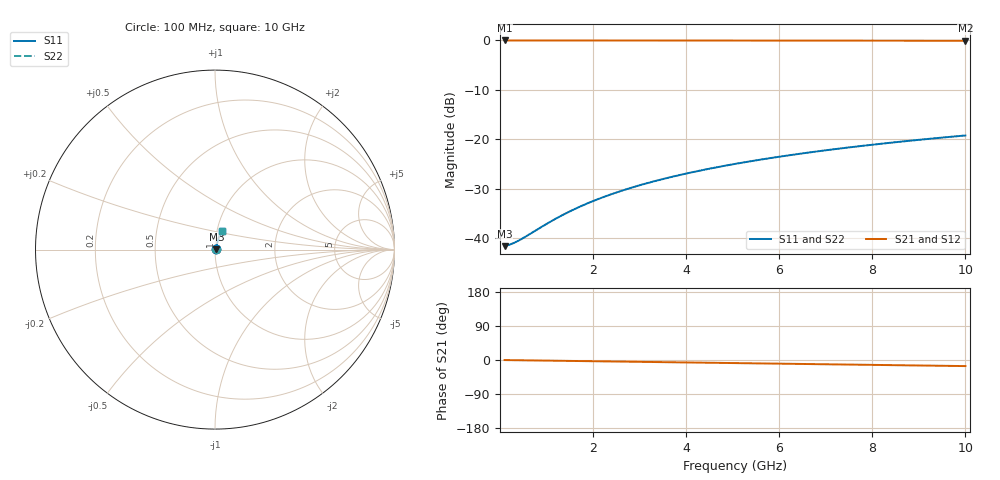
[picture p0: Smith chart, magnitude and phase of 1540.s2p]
# Hz S RI R 50.00
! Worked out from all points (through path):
!   100 points, 100 MHz to 10 GHz, reference 50 ohm
!   highest |S21| = -0.07 dB at 100 MHz (marker M1); lowest = -0.1 dB at 10 GHz (marker M2)
!   group delay of S21, straight-line fit = 4.47 ps
!   lowest |S11| = -41.6 dB at 100 MHz (marker M3), VSWR 1.02, Z = 50.8 + j0.11 ohm
!   |S11| at or under -10 dB: start of sweep to end of sweep
!   |S22| runs from -41.6 to -19.3 dB; largest |S21 - S12| = 0
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1e8  0.00824 0.00108  0.9918 -0.00279  0.9918 -0.00279  0.00824 0.00108
2e8  0.0083 0.00216  0.9917 -0.00558  0.9917 -0.00558  0.0083 0.00216
3e8  0.00835 0.00324  0.9916 -0.00838  0.9916 -0.00838  0.00835 0.00324
4e8  0.00841 0.00432  0.9916 -0.0112  0.9916 -0.0112  0.00841 0.00432
6e8  0.00852 0.00648  0.9914 -0.0167  0.9914 -0.0167  0.00852 0.00648
1e9  0.00879 0.0108  0.991 -0.0279  0.991 -0.0279  0.00879 0.0108
1.2e9  0.00895 0.013  0.9908 -0.0335  0.9908 -0.0335  0.00895 0.013
1.5e9  0.00924 0.0162  0.9904 -0.0418  0.9904 -0.0418  0.00924 0.0162
1.8e9  0.00958 0.0194  0.9899 -0.0502  0.9899 -0.0502  0.00958 0.0194
2.1e9  0.00996 0.0226  0.9894 -0.0586  0.9894 -0.0586  0.00996 0.0226
2.5e9  0.0106 0.0269  0.9885 -0.0697  0.9885 -0.0697  0.0106 0.0269
2.9e9  0.0113 0.0312  0.9875 -0.0808  0.9875 -0.0808  0.0113 0.0312
3.4e9  0.0122 0.0365  0.986 -0.0946  0.986 -0.0946  0.0122 0.0365
3.8e9  0.0131 0.0407  0.9847 -0.1057  0.9847 -0.1057  0.0131 0.0407
4.2e9  0.0141 0.0449  0.9832 -0.1167  0.9832 -0.1167  0.0141 0.0449
4.6e9  0.0152 0.0491  0.9816 -0.1277  0.9816 -0.1277  0.0152 0.0491
5.1e9  0.0167 0.0542  0.9794 -0.1415  0.9794 -0.1415  0.0167 0.0542
5.9e9  0.0194 0.0624  0.9754 -0.1633  0.9754 -0.1633  0.0194 0.0624
6.7e9  0.0225 0.0705  0.9708 -0.185  0.9708 -0.185  0.0225 0.0705
7.5e9  0.0258 0.0783  0.9657 -0.2066  0.9657 -0.2066  0.0258 0.0783
8.4e9  0.0301 0.087  0.9594 -0.2306  0.9594 -0.2306  0.0301 0.087
1e10  0.0387 0.1018  0.9464 -0.2727  0.9464 -0.2727  0.0387 0.1018
